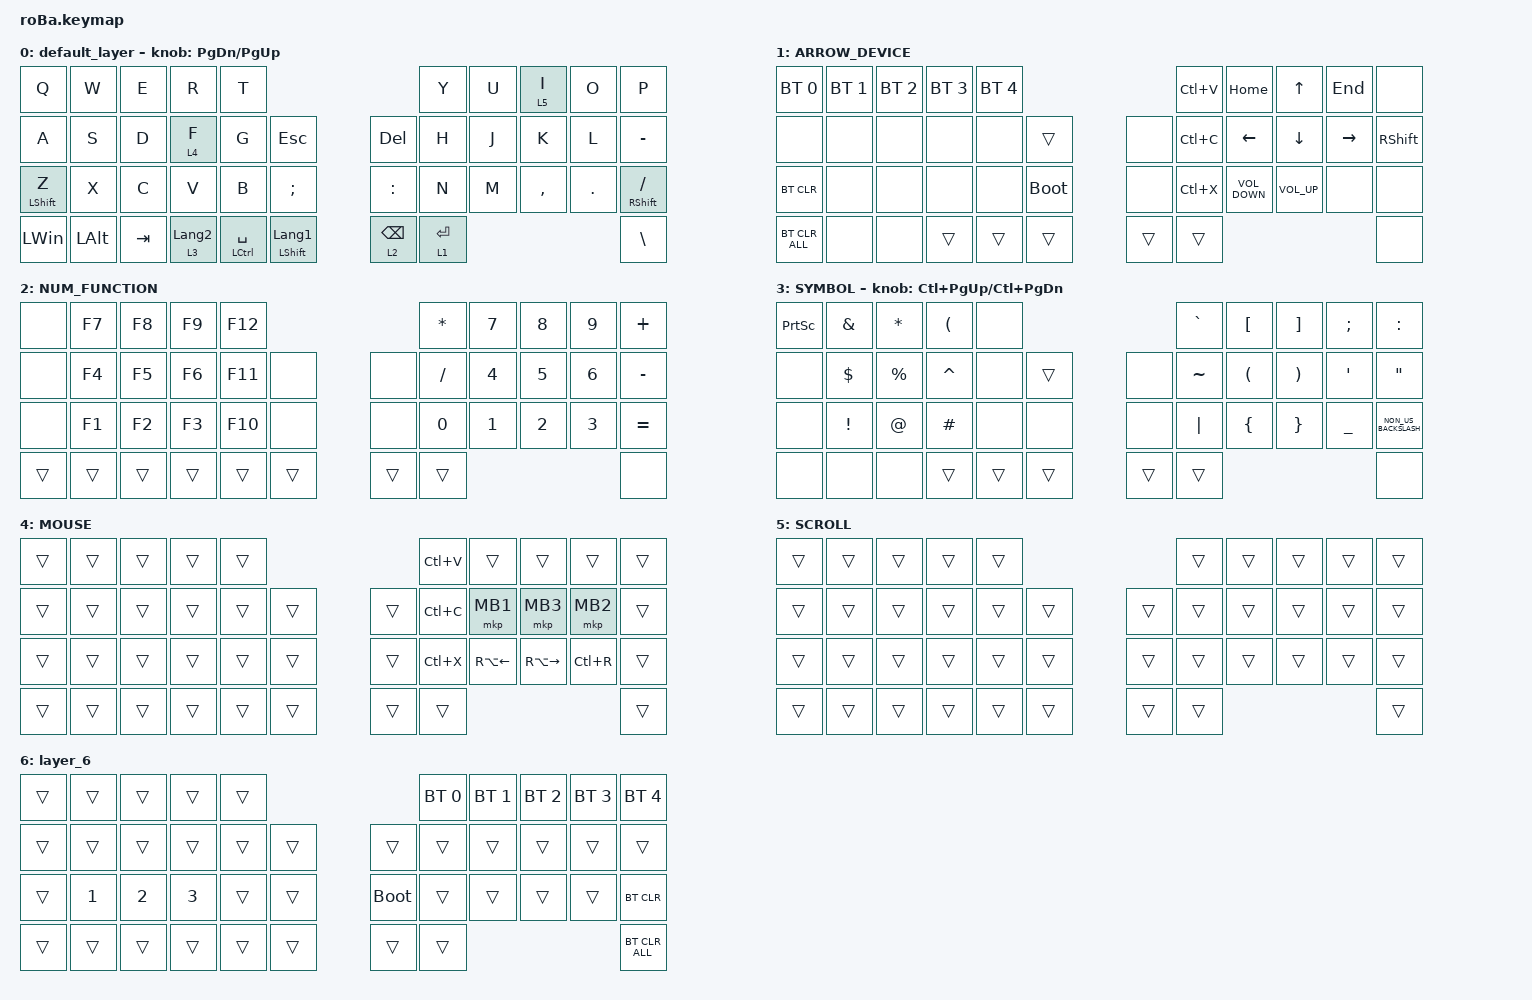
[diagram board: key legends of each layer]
#include <behaviors.dtsi>
#include <dt-bindings/zmk/bt.h>
#include <dt-bindings/zmk/keys.h>
#include <dt-bindings/zmk/pointing.h>

&mt {
    flavor = "balanced";
    quick-tap-ms = <0>;
};

&trackball {
    automouse-layer = <4>;
    scroll-layers = <5>;

    // arrows {
    //     layers = <3>;
    //     bindings =
    //         <&kp RIGHT_ARROW>,
    //         <&kp LEFT_ARROW>,
    //         <&kp UP_ARROW>,
    //         <&kp DOWN_ARROW>;
    //     tick = <10>;
    //     wait-ms = <5>;
    //     tap-ms = <5>;
    // };
};

/ {
    combos {
        compatible = "zmk,combos";

        tab {
            bindings = <&kp TAB>;
            key-positions = <11 12>;
        };

        Esc {
            bindings = <&kp ESCAPE>;
            key-positions = <2 1>;
        };
    };

    macros {
        to_layer_0: to_layer_0 {
            compatible = "zmk,behavior-macro-one-param";
            #binding-cells = <1>;
            bindings = <&to 0 &macro_param_1to1 &kp MACRO_PLACEHOLDER>;
            label = "TO_LAYER_0";
        };
    };

    behaviors {
        lt_to_layer_0: lt_to_layer_0 {
            compatible = "zmk,behavior-hold-tap";
            label = "LAYER_TAP_TO_0";
            bindings = <&mo>, <&to_layer_0>;

            #binding-cells = <2>;
            tapping-term-ms = <200>;
        };
    };

    keymap {
        compatible = "zmk,keymap";

        default_layer {
            bindings = <
&kp Q             &kp W         &kp E    &kp R             &kp T                                                                   &kp Y        &kp U  &lt 5 I    &kp O    &kp P
&kp A             &kp S         &kp D    &lt 4 F           &kp G                   &kp ESCAPE                     &kp DELETE       &kp H        &kp J  &kp K      &kp L    &kp MINUS
&mt LEFT_SHIFT Z  &kp X         &kp C    &kp V             &kp B                   &kp SEMI                       &kp COLON        &kp N        &kp M  &kp COMMA  &kp DOT  &mt RIGHT_SHIFT SLASH
&kp LEFT_WIN      &kp LEFT_ALT  &kp TAB  &lt 3 LANGUAGE_2  &mt LEFT_CONTROL SPACE  &mt LEFT_SHIFT LANGUAGE_1      &lt 2 BACKSPACE  &lt 1 ENTER                             &kp BACKSLASH
            >;

            sensor-bindings = <&inc_dec_kp PAGE_DOWN PAGE_UP>;
        };

        ARROW_DEVICE {
            bindings = <
&bt BT_SEL 0    &bt BT_SEL 1  &bt BT_SEL 2  &bt BT_SEL 3  &bt BT_SEL 4                           &kp LC(V)  &kp HOME           &kp UP_ARROW     &kp END          &none
&none           &none         &none         &none         &none         &trans           &none   &kp LC(C)  &kp LEFT_ARROW     &kp DOWN_ARROW   &kp RIGHT_ARROW  &kp RIGHT_SHIFT
&bt BT_CLR      &none         &none         &none         &none         &bootloader      &none   &kp LC(X)  &kp C_VOLUME_DOWN  &kp C_VOLUME_UP  &none            &none
&bt BT_CLR_ALL  &none         &none         &trans        &trans        &trans           &trans  &trans                                                          &none
            >;
        };

        NUM_FUNCTION {
            bindings = <
&none   &kp F7  &kp F8  &kp F9  &kp F12                      &kp ASTERISK  &kp N7        &kp N8        &kp N9        &kp PLUS
&none   &kp F4  &kp F5  &kp F6  &kp F11  &none       &none   &kp SLASH     &kp NUMBER_4  &kp N5        &kp NUMBER_6  &kp MINUS
&none   &kp F1  &kp F2  &kp F3  &kp F10  &none       &none   &kp N0        &kp NUMBER_1  &kp NUMBER_2  &kp NUMBER_3  &kp EQUAL
&trans  &trans  &trans  &trans  &trans   &trans      &trans  &trans                                                  &none
            >;
        };

        SYMBOL {
            bindings = <
&kp PRINTSCREEN  &kp AMPERSAND    &kp ASTERISK  &kp LEFT_PARENTHESIS  &none                       &kp GRAVE  &kp LEFT_BRACKET      &kp RIGHT_BRACKET      &kp SEMICOLON   &kp COLON
&none            &kp DOLLAR       &kp PERCENT   &kp CARET             &none   &trans      &none   &kp TILDE  &kp LEFT_PARENTHESIS  &kp RIGHT_PARENTHESIS  &kp SQT         &kp DOUBLE_QUOTES
&none            &kp EXCLAMATION  &kp AT_SIGN   &kp HASH              &none   &none       &none   &kp PIPE   &kp LEFT_BRACE        &kp RIGHT_BRACE        &kp UNDERSCORE  &kp NON_US_BACKSLASH
&none            &none            &none         &trans                &trans  &trans      &trans  &trans                                                                  &none
            >;

            sensor-bindings = <&inc_dec_kp LC(PAGE_UP) LC(PAGE_DOWN)>;
        };

        MOUSE {
            bindings = <
&trans  &trans  &trans  &trans  &trans                      &kp LC(V)  &trans        &trans         &trans     &trans
&trans  &trans  &trans  &trans  &trans  &trans      &trans  &kp LC(C)  &mkp MB1      &mkp MB3       &mkp MB2   &trans
&trans  &trans  &trans  &trans  &trans  &trans      &trans  &kp LC(X)  &kp RA(LEFT)  &kp RA(RIGHT)  &kp LC(R)  &trans
&trans  &trans  &trans  &trans  &trans  &trans      &trans  &trans                                             &trans
            >;
        };

        SCROLL {
            bindings = <
&trans  &trans  &trans  &trans  &trans                      &trans  &trans  &trans  &trans  &trans
&trans  &trans  &trans  &trans  &trans  &trans      &trans  &trans  &trans  &trans  &trans  &trans
&trans  &trans  &trans  &trans  &trans  &trans      &trans  &trans  &trans  &trans  &trans  &trans
&trans  &trans  &trans  &trans  &trans  &trans      &trans  &trans                          &trans
            >;
        };

        layer_6 {
            bindings = <
&trans  &trans        &trans        &trans        &trans                           &bt BT_SEL 0  &bt BT_SEL 1  &bt BT_SEL 2  &bt BT_SEL 3  &bt BT_SEL 4
&trans  &trans        &trans        &trans        &trans  &trans      &trans       &trans        &trans        &trans        &trans        &trans
&trans  &kp NUMBER_1  &kp NUMBER_2  &kp NUMBER_3  &trans  &trans      &bootloader  &trans        &trans        &trans        &trans        &bt BT_CLR
&trans  &trans        &trans        &trans        &trans  &trans      &trans       &trans                                                  &bt BT_CLR_ALL
            >;
        };
    };
};
